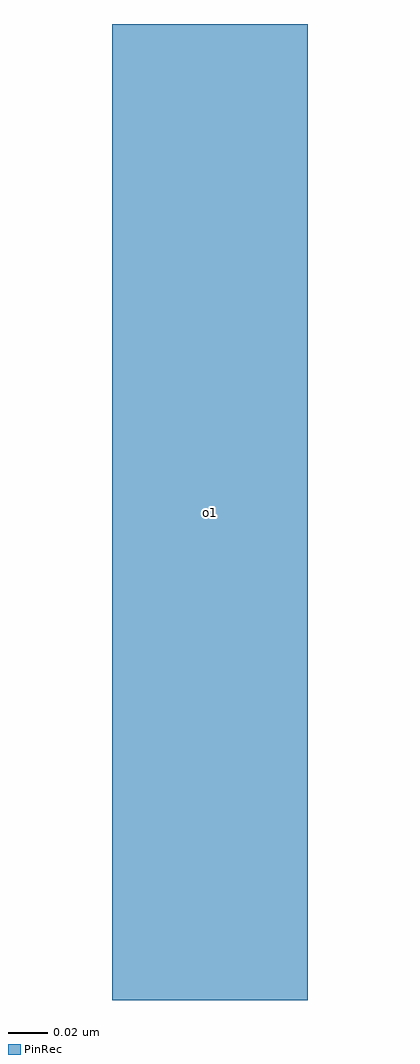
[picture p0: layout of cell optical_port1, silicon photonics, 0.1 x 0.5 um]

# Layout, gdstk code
import gdstk
lib = gdstk.Library(unit=1e-6, precision=1e-09)
PinRec = (1, 10)

optical_port1 = lib.new_cell('optical_port1')
optical_port1.add(gdstk.FlexPath([(0.05,0),(-0.05,0)], 0.5, ends="flush", simple_path=True, layer=1, datatype=10))  # PinRec
optical_port1.add(gdstk.FlexPath([(0.05,0),(-0.05,0)], 0.5, ends="flush", simple_path=True, layer=1, datatype=10))  # PinRec
optical_port1.add(gdstk.FlexPath([(0.05,0),(-0.05,0)], 0.5, ends="flush", simple_path=True, layer=1, datatype=10))  # PinRec
optical_port1.add(gdstk.FlexPath([(0.05,0),(-0.05,0)], 0.5, ends="flush", simple_path=True, layer=1, datatype=10))  # PinRec
optical_port1.add(gdstk.FlexPath([(0.05,0),(-0.05,0)], 0.5, ends="flush", simple_path=True, layer=1, datatype=10))  # PinRec
optical_port1.add(gdstk.FlexPath([(0.05,0),(-0.05,0)], 0.5, ends="flush", simple_path=True, layer=1, datatype=10))  # PinRec
optical_port1.add(gdstk.FlexPath([(0.05,0),(-0.05,0)], 0.5, ends="flush", simple_path=True, layer=1, datatype=10))  # PinRec
optical_port1.add(gdstk.FlexPath([(0.05,0),(-0.05,0)], 0.5, ends="flush", simple_path=True, layer=1, datatype=10))  # PinRec
optical_port1.add(gdstk.FlexPath([(0.05,0),(-0.05,0)], 0.5, ends="flush", simple_path=True, layer=1, datatype=10))  # PinRec
optical_port1.add(gdstk.FlexPath([(0.05,0),(-0.05,0)], 0.5, ends="flush", simple_path=True, layer=1, datatype=10))  # PinRec
optical_port1.add(gdstk.FlexPath([(0.05,0),(-0.05,0)], 0.5, ends="flush", simple_path=True, layer=1, datatype=10))  # PinRec
optical_port1.add(gdstk.FlexPath([(0.05,0),(-0.05,0)], 0.5, ends="flush", simple_path=True, layer=1, datatype=10))  # PinRec
optical_port1.add(gdstk.FlexPath([(0.05,0),(-0.05,0)], 0.5, ends="flush", simple_path=True, layer=1, datatype=10))  # PinRec
optical_port1.add(gdstk.FlexPath([(0.05,0),(-0.05,0)], 0.5, ends="flush", simple_path=True, layer=1, datatype=10))  # PinRec
optical_port1.add(gdstk.FlexPath([(0.05,0),(-0.05,0)], 0.5, ends="flush", simple_path=True, layer=1, datatype=10))  # PinRec
optical_port1.add(gdstk.FlexPath([(0.05,0),(-0.05,0)], 0.5, ends="flush", simple_path=True, layer=1, datatype=10))  # PinRec
optical_port1.add(gdstk.FlexPath([(0.05,0),(-0.05,0)], 0.5, ends="flush", simple_path=True, layer=1, datatype=10))  # PinRec
optical_port1.add(gdstk.FlexPath([(0.05,0),(-0.05,0)], 0.5, ends="flush", simple_path=True, layer=1, datatype=10))  # PinRec
optical_port1.add(gdstk.FlexPath([(0.05,0),(-0.05,0)], 0.5, ends="flush", simple_path=True, layer=1, datatype=10))  # PinRec
optical_port1.add(gdstk.FlexPath([(0.05,0),(-0.05,0)], 0.5, ends="flush", simple_path=True, layer=1, datatype=10))  # PinRec
optical_port1.add(gdstk.FlexPath([(0.05,0),(-0.05,0)], 0.5, ends="flush", simple_path=True, layer=1, datatype=10))  # PinRec
optical_port1.add(gdstk.FlexPath([(0.05,0),(-0.05,0)], 0.5, ends="flush", simple_path=True, layer=1, datatype=10))  # PinRec
optical_port1.add(gdstk.FlexPath([(0.05,0),(-0.05,0)], 0.5, ends="flush", simple_path=True, layer=1, datatype=10))  # PinRec
optical_port1.add(gdstk.FlexPath([(0.05,0),(-0.05,0)], 0.5, ends="flush", simple_path=True, layer=1, datatype=10))  # PinRec
optical_port1.add(gdstk.FlexPath([(0.05,0),(-0.05,0)], 0.5, ends="flush", simple_path=True, layer=1, datatype=10))  # PinRec
optical_port1.add(gdstk.FlexPath([(0.05,0),(-0.05,0)], 0.5, ends="flush", simple_path=True, layer=1, datatype=10))  # PinRec
optical_port1.add(gdstk.FlexPath([(0.05,0),(-0.05,0)], 0.5, ends="flush", simple_path=True, layer=1, datatype=10))  # PinRec
optical_port1.add(gdstk.FlexPath([(0.05,0),(-0.05,0)], 0.5, ends="flush", simple_path=True, layer=1, datatype=10))  # PinRec
optical_port1.add(gdstk.FlexPath([(0.05,0),(-0.05,0)], 0.5, ends="flush", simple_path=True, layer=1, datatype=10))  # PinRec
optical_port1.add(gdstk.FlexPath([(0.05,0),(-0.05,0)], 0.5, ends="flush", simple_path=True, layer=1, datatype=10))  # PinRec
optical_port1.add(gdstk.FlexPath([(0.05,0),(-0.05,0)], 0.5, ends="flush", simple_path=True, layer=1, datatype=10))  # PinRec
optical_port1.add(gdstk.FlexPath([(0.05,0),(-0.05,0)], 0.5, ends="flush", simple_path=True, layer=1, datatype=10))  # PinRec
optical_port1.add(gdstk.FlexPath([(0.05,0),(-0.05,0)], 0.5, ends="flush", simple_path=True, layer=1, datatype=10))  # PinRec
optical_port1.add(gdstk.FlexPath([(0.05,0),(-0.05,0)], 0.5, ends="flush", simple_path=True, layer=1, datatype=10))  # PinRec
optical_port1.add(gdstk.FlexPath([(0.05,0),(-0.05,0)], 0.5, ends="flush", simple_path=True, layer=1, datatype=10))  # PinRec
optical_port1.add(gdstk.FlexPath([(0.05,0),(-0.05,0)], 0.5, ends="flush", simple_path=True, layer=1, datatype=10))  # PinRec
optical_port1.add(gdstk.FlexPath([(0.05,0),(-0.05,0)], 0.5, ends="flush", simple_path=True, layer=1, datatype=10))  # PinRec
optical_port1.add(gdstk.FlexPath([(0.05,0),(-0.05,0)], 0.5, ends="flush", simple_path=True, layer=1, datatype=10))  # PinRec
optical_port1.add(gdstk.FlexPath([(0.05,0),(-0.05,0)], 0.5, ends="flush", simple_path=True, layer=1, datatype=10))  # PinRec
optical_port1.add(gdstk.FlexPath([(0.05,0),(-0.05,0)], 0.5, ends="flush", simple_path=True, layer=1, datatype=10))  # PinRec
optical_port1.add(gdstk.FlexPath([(0.05,0),(-0.05,0)], 0.5, ends="flush", simple_path=True, layer=1, datatype=10))  # PinRec
optical_port1.add(gdstk.FlexPath([(0.05,0),(-0.05,0)], 0.5, ends="flush", simple_path=True, layer=1, datatype=10))  # PinRec
optical_port1.add(gdstk.FlexPath([(0.05,0),(-0.05,0)], 0.5, ends="flush", simple_path=True, layer=1, datatype=10))  # PinRec
optical_port1.add(gdstk.Label('o1', (0,0), layer=1, texttype=10))
optical_port1.add(gdstk.Label('o1', (0,0), layer=1, texttype=10))
optical_port1.add(gdstk.Label('o1', (0,0), layer=1, texttype=10))
optical_port1.add(gdstk.Label('o1', (0,0), layer=1, texttype=10))
optical_port1.add(gdstk.Label('o1', (0,0), layer=1, texttype=10))
optical_port1.add(gdstk.Label('o1', (0,0), layer=1, texttype=10))
optical_port1.add(gdstk.Label('o1', (0,0), layer=1, texttype=10))
optical_port1.add(gdstk.Label('o1', (0,0), layer=1, texttype=10))
optical_port1.add(gdstk.Label('o1', (0,0), layer=1, texttype=10))
optical_port1.add(gdstk.Label('o1', (0,0), layer=1, texttype=10))
optical_port1.add(gdstk.Label('o1', (0,0), layer=1, texttype=10))
optical_port1.add(gdstk.Label('o1', (0,0), layer=1, texttype=10))
optical_port1.add(gdstk.Label('o1', (0,0), layer=1, texttype=10))
optical_port1.add(gdstk.Label('o1', (0,0), layer=1, texttype=10))
optical_port1.add(gdstk.Label('o1', (0,0), layer=1, texttype=10))
optical_port1.add(gdstk.Label('o1', (0,0), layer=1, texttype=10))
optical_port1.add(gdstk.Label('o1', (0,0), layer=1, texttype=10))
optical_port1.add(gdstk.Label('o1', (0,0), layer=1, texttype=10))
optical_port1.add(gdstk.Label('o1', (0,0), layer=1, texttype=10))
optical_port1.add(gdstk.Label('o1', (0,0), layer=1, texttype=10))
optical_port1.add(gdstk.Label('o1', (0,0), layer=1, texttype=10))
optical_port1.add(gdstk.Label('o1', (0,0), layer=1, texttype=10))
optical_port1.add(gdstk.Label('o1', (0,0), layer=1, texttype=10))
optical_port1.add(gdstk.Label('o1', (0,0), layer=1, texttype=10))
optical_port1.add(gdstk.Label('o1', (0,0), layer=1, texttype=10))
optical_port1.add(gdstk.Label('o1', (0,0), layer=1, texttype=10))
optical_port1.add(gdstk.Label('o1', (0,0), layer=1, texttype=10))
optical_port1.add(gdstk.Label('o1', (0,0), layer=1, texttype=10))
optical_port1.add(gdstk.Label('o1', (0,0), layer=1, texttype=10))
optical_port1.add(gdstk.Label('o1', (0,0), layer=1, texttype=10))
optical_port1.add(gdstk.Label('o1', (0,0), layer=1, texttype=10))
optical_port1.add(gdstk.Label('o1', (0,0), layer=1, texttype=10))
optical_port1.add(gdstk.Label('o1', (0,0), layer=1, texttype=10))
optical_port1.add(gdstk.Label('o1', (0,0), layer=1, texttype=10))
optical_port1.add(gdstk.Label('o1', (0,0), layer=1, texttype=10))
optical_port1.add(gdstk.Label('o1', (0,0), layer=1, texttype=10))
optical_port1.add(gdstk.Label('o1', (0,0), layer=1, texttype=10))
optical_port1.add(gdstk.Label('o1', (0,0), layer=1, texttype=10))
optical_port1.add(gdstk.Label('o1', (0,0), layer=1, texttype=10))
optical_port1.add(gdstk.Label('o1', (0,0), layer=1, texttype=10))
optical_port1.add(gdstk.Label('o1', (0,0), layer=1, texttype=10))
optical_port1.add(gdstk.Label('o1', (0,0), layer=1, texttype=10))
optical_port1.add(gdstk.Label('o1', (0,0), layer=1, texttype=10))

lib.write_gds('optical_port1.gds')
